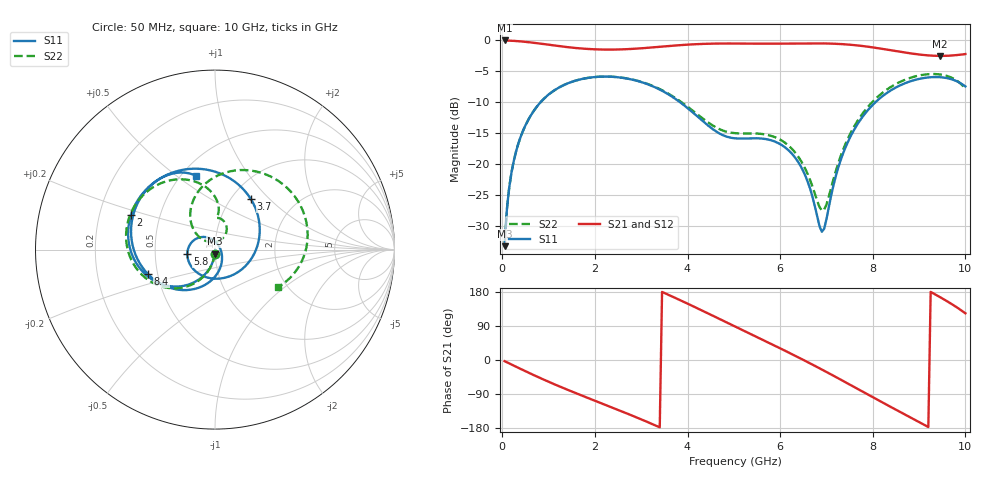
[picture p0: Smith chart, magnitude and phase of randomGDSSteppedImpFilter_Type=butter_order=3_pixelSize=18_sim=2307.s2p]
! freq	dB(S11)	phase(S11)	dB(S12)	phase(S12)
!  dB(S21)	phase(S21)	dB(S22)	phase(S22)
!S-par simulation data
#  GHz  S  DB  R 50
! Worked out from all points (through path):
!   200 points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, 50 MHz to 10 GHz, reference 50 ohm
!   highest |S21| = -0.01 dB at 50 MHz (marker M1); lowest = -2.5 dB at 9.45 GHz (marker M2)
!   group delay of S21, straight-line fit = 163 ps
!   lowest |S11| = -33.2 dB at 50 MHz (marker M3), VSWR 1.04, Z = 49.8 - j2.18 ohm
!   |S11| at or under -10 dB: start of sweep to 823.9 MHz; 3.843 GHz to 8.054 GHz (4.212 GHz wide, 70.8 % of centre)
!   |S22| runs from -33.2 to -5.4 dB; largest |S21 - S12| = 0
!   S11 on the Smith chart (normalised r, x): 50 MHz: 1.00, -0.04; 2 GHz: 0.34, +0.18; 3.7 GHz: 1.23, +0.78; 5.8 GHz: 0.73, -0.04; 8.4 GHz: 0.44, -0.14; 10 GHz: 0.59, +0.59
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0.05  -33.21 -93.1  -0.01 -3.0  -0.01 -3.0  -33.21 -92.9
0.2  -21.26 -102.7  -0.06 -12.0  -0.06 -12.0  -21.25 -102.1
0.5  -13.71 -121.0  -0.23 -29.6  -0.23 -29.6  -13.72 -119.4
1.1  -8.18 -155.1  -0.80 -62.7  -0.80 -62.7  -8.18 -151.2
1.75  -6.18 170.5  -1.33 -95.4  -1.33 -95.4  -6.18 177.7
2  -5.91 157.5  -1.44 -107.5  -1.44 -107.5  -5.91 166.6
2.75  -6.24 117.1  -1.39 -144.0  -1.39 -144.0  -6.22 134.5
3.4  -7.93 76.5  -1.03 -177.7  -1.03 -177.7  -7.86 108.5
3.7  -9.25 54.6  -0.84 165.8  -0.84 165.8  -9.12 98.0
4.45  -13.78 -17.3  -0.53 122.5  -0.53 122.5  -13.27 84.5
5.05  -15.82 -93.1  -0.50 87.1  -0.50 87.1  -14.99 87.6
5.8  -16.11 -170.5  -0.53 42.8  -0.53 42.8  -15.39 75.3
6.35  -19.19 142.0  -0.49 9.6  -0.49 9.6  -18.34 58.0
6.7  -25.31 100.2  -0.47 -12.3  -0.47 -12.3  -23.64 58.9
6.95  -30.41 5.5  -0.49 -28.3  -0.49 -28.3  -27.33 105.8
7.25  -20.64 -68.6  -0.56 -48.0  -0.56 -48.0  -19.93 141.2
7.55  -15.07 -97.8  -0.72 -68.0  -0.72 -68.0  -14.54 133.6
8.35  -8.26 -156.5  -1.54 -121.3  -1.54 -121.3  -7.70 88.1
8.4  -8.02 -159.9  -1.60 -124.6  -1.60 -124.6  -7.46 85.0
8.9  -6.40 167.8  -2.18 -157.2  -2.18 -157.2  -5.84 53.4
9.45  -5.93 134.1  -2.50 166.1  -2.50 166.1  -5.49 16.6
10  -7.42 104.6  -2.20 123.3  -2.20 123.3  -7.81 -31.2
